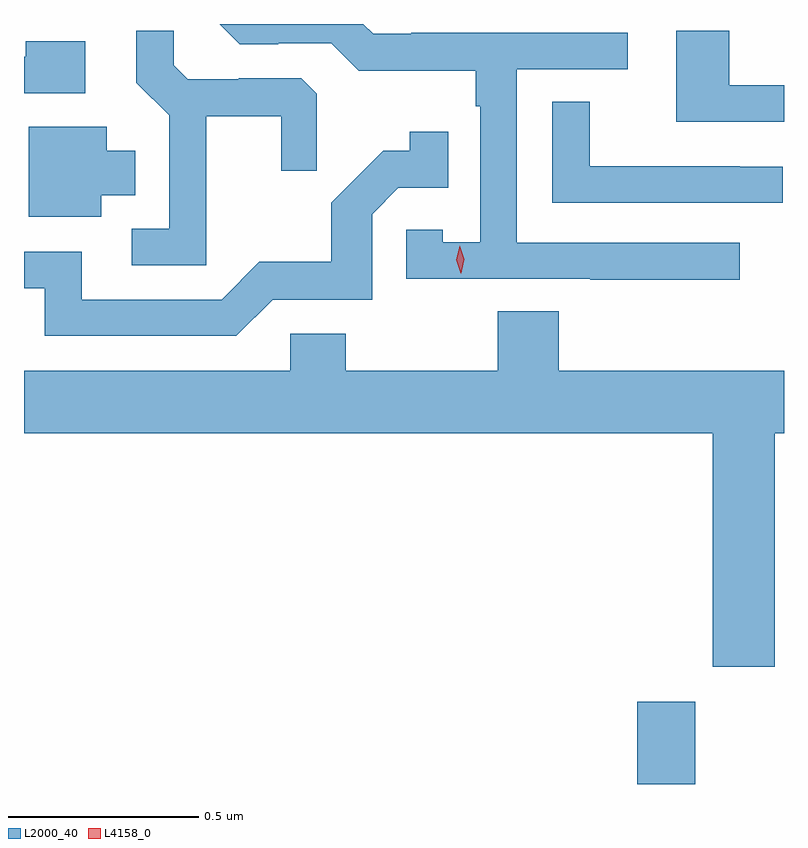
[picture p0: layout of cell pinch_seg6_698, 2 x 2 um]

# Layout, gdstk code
import gdstk
lib = gdstk.Library(unit=1e-6, precision=1e-09)
def R(c, l, rs):  # rectangles x0, y0, x1, y1
    for r in rs: c.add(gdstk.rectangle(r[:2], r[2:], *l))
def P(c, l, *ps):  # polygons
    for p in ps: c.add(gdstk.Polygon(p, *l))
L2000_40 = (2000, 40)
L4158_0 = (4158, 0)

pinch_seg6_698 = lib.new_cell('pinch_seg6_698')
R(pinch_seg6_698, L2000_40, [(492.371,935.757,492.523,935.974)])
P(pinch_seg6_698, L2000_40, [(492.64,937.182),(492.054,937.182),(492.054,937.638),(492.346,937.638),(492.346,937.734),(491.776,937.734),(491.776,937.731),(491.676,937.731),(491.65,937.757),(491.272,937.757),(491.325,937.704),(491.426,937.704),(491.426,937.707),(491.565,937.707),(491.638,937.634),(491.946,937.634),(491.946,937.541),(491.958,937.541),(491.958,937.183),(491.859,937.183),(491.859,937.215),(491.763,937.215),(491.763,937.086),(492.247,937.086),(492.247,937.084),(492.64,937.084)],
  [(492.757,937.596),(492.613,937.596),(492.613,937.739),(492.473,937.739),(492.473,937.5),(492.757,937.5)],
  [(491.237,937.514),(491.434,937.514),(491.434,937.371),(491.528,937.371),(491.528,937.573),(491.487,937.614),(491.322,937.614),(491.322,937.611),(491.188,937.611),(491.151,937.648),(491.151,937.739),(491.053,937.739),(491.053,937.603),(491.139,937.517),(491.139,937.218),(491.04,937.218),(491.04,937.122),(491.237,937.122)],
  [(490.918,937.711),(490.762,937.711),(490.762,937.671),(490.757,937.671),(490.757,937.575),(490.918,937.575)],
  [(492.754,937.382),(492.641,937.382),(492.641,937.383),(492.246,937.383),(492.246,937.553),(492.147,937.553),(492.147,937.287),(492.754,937.287)],
  [(490.96,937.307),(491.05,937.307),(491.05,937.423),(490.975,937.423),(490.975,937.486),(490.769,937.486),(490.769,937.25),(490.96,937.25)],
  [(491.412,937.032),(491.673,937.032),(491.673,937.257),(491.742,937.326),(491.873,937.326),(491.873,937.474),(491.772,937.474),(491.772,937.424),(491.702,937.424),(491.565,937.286),(491.565,937.131),(491.376,937.131),(491.277,937.032),(490.909,937.032),(490.909,937.158),(490.757,937.158),(490.757,937.062),(490.811,937.062),(490.811,936.936),(491.316,936.936)],
  [(492.733,936.68),(492.757,936.68),(492.757,936.844),(492.164,936.844),(492.164,937.001),(492.004,937.001),(492.004,936.844),(491.604,936.844),(491.604,936.942),(491.457,936.942),(491.457,936.844),(490.757,936.844),(490.757,936.68),(492.569,936.68),(492.569,936.066),(492.733,936.066)])
P(pinch_seg6_698, L4158_0, [(491.906,937.101),(491.895,937.137),(491.904,937.173),(491.904,937.173),(491.904,937.173),(491.915,937.138),(491.907,937.101),(491.907,937.101)])

lib.write_gds('pinch_seg6_698.gds')
